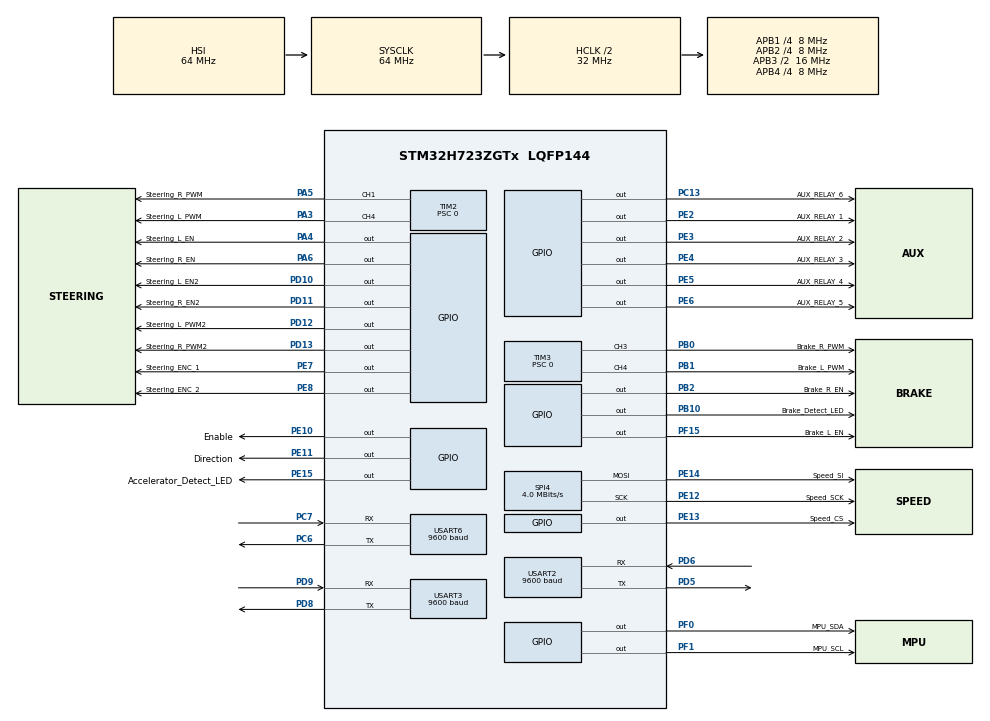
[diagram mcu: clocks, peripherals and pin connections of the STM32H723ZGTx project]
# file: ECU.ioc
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Dma.Request0=USART3_RX
Dma.Request1=USART2_RX
Dma.Request2=USART6_RX
Dma.USART2_RX.1.Direction=DMA_PERIPH_TO_MEMORY
Dma.USART2_RX.1.EventEnable=DISABLE
Dma.USART2_RX.1.FIFOMode=DMA_FIFOMODE_DISABLE
Dma.USART2_RX.1.Instance=DMA1_Stream1
Dma.USART2_RX.1.MemDataAlignment=DMA_MDATAALIGN_BYTE
Dma.USART2_RX.1.MemInc=DMA_MINC_ENABLE
Dma.USART2_RX.1.Mode=DMA_CIRCULAR
Dma.USART2_RX.1.PeriphDataAlignment=DMA_PDATAALIGN_BYTE
Dma.USART2_RX.1.PeriphInc=DMA_PINC_DISABLE
Dma.USART2_RX.1.Polarity=HAL_DMAMUX_REQ_GEN_RISING
Dma.USART2_RX.1.Priority=DMA_PRIORITY_LOW
Dma.USART2_RX.1.RequestNumber=1
Dma.USART2_RX.1.SignalID=NONE
Dma.USART2_RX.1.SyncEnable=DISABLE
Dma.USART2_RX.1.SyncPolarity=HAL_DMAMUX_SYNC_NO_EVENT
Dma.USART2_RX.1.SyncRequestNumber=1
Dma.USART2_RX.1.SyncSignalID=NONE
Dma.USART3_RX.0.Direction=DMA_PERIPH_TO_MEMORY
Dma.USART3_RX.0.EventEnable=DISABLE
Dma.USART3_RX.0.FIFOMode=DMA_FIFOMODE_DISABLE
Dma.USART3_RX.0.Instance=DMA1_Stream0
Dma.USART3_RX.0.MemDataAlignment=DMA_MDATAALIGN_BYTE
Dma.USART3_RX.0.MemInc=DMA_MINC_ENABLE
Dma.USART3_RX.0.Mode=DMA_CIRCULAR
Dma.USART3_RX.0.PeriphDataAlignment=DMA_PDATAALIGN_BYTE
Dma.USART3_RX.0.PeriphInc=DMA_PINC_DISABLE
Dma.USART3_RX.0.Polarity=HAL_DMAMUX_REQ_GEN_RISING
Dma.USART3_RX.0.Priority=DMA_PRIORITY_LOW
Dma.USART3_RX.0.RequestNumber=1
Dma.USART3_RX.0.SignalID=NONE
Dma.USART3_RX.0.SyncEnable=DISABLE
Dma.USART3_RX.0.SyncPolarity=HAL_DMAMUX_SYNC_NO_EVENT
Dma.USART3_RX.0.SyncRequestNumber=1
Dma.USART3_RX.0.SyncSignalID=NONE
Dma.USART6_RX.2.Direction=DMA_PERIPH_TO_MEMORY
Dma.USART6_RX.2.EventEnable=DISABLE
Dma.USART6_RX.2.FIFOMode=DMA_FIFOMODE_DISABLE
Dma.USART6_RX.2.Instance=DMA1_Stream2
Dma.USART6_RX.2.MemDataAlignment=DMA_MDATAALIGN_BYTE
Dma.USART6_RX.2.MemInc=DMA_MINC_ENABLE
Dma.USART6_RX.2.Mode=DMA_CIRCULAR
Dma.USART6_RX.2.PeriphDataAlignment=DMA_PDATAALIGN_BYTE
Dma.USART6_RX.2.PeriphInc=DMA_PINC_DISABLE
Dma.USART6_RX.2.Polarity=HAL_DMAMUX_REQ_GEN_RISING
Dma.USART6_RX.2.Priority=DMA_PRIORITY_LOW
Dma.USART6_RX.2.RequestNumber=1
Dma.USART6_RX.2.SignalID=NONE
Dma.USART6_RX.2.SyncEnable=DISABLE
Dma.USART6_RX.2.SyncPolarity=HAL_DMAMUX_SYNC_NO_EVENT
Dma.USART6_RX.2.SyncRequestNumber=1
Dma.USART6_RX.2.SyncSignalID=NONE
Mcu.Family=STM32H7
Mcu.Name=STM32H723ZGTx
Mcu.Package=LQFP144
NVIC.DMA1_Stream0_IRQn=true\:0\:0\:false\:false\:true\:false\:true\:true
NVIC.DMA1_Stream1_IRQn=true\:0\:0\:false\:false\:true\:false\:true\:true
NVIC.DMA1_Stream2_IRQn=true\:0\:0\:false\:false\:true\:false\:true\:true
NVIC.PriorityGroup=NVIC_PRIORITYGROUP_4
NVIC.TIM1_UP_IRQn=true\:15\:0\:false\:false\:true\:false\:true\:true
NVIC.TimeBase=TIM1_UP_IRQn
NVIC.TimeBaseIP=TIM1
NVIC.USART2_IRQn=true\:0\:0\:false\:false\:true\:true\:true\:true
NVIC.USART3_IRQn=true\:0\:0\:false\:false\:true\:true\:true\:true
NVIC.USART6_IRQn=true\:0\:0\:false\:false\:true\:true\:true\:true
PA13(JTMS/SWDIO).Mode=JTAG_5_pins
PA13(JTMS/SWDIO).Signal=DEBUG_JTMS-SWDIO
PA14(JTCK/SWCLK).Mode=JTAG_5_pins
PA14(JTCK/SWCLK).Signal=DEBUG_JTCK-SWCLK
PA15(JTDI).Mode=JTAG_5_pins
PA15(JTDI).Signal=DEBUG_JTDI
PA3.GPIO_Label=Steering_L_PWM
PA3.Signal=S_TIM2_CH4
PA4.GPIO_Label=Steering_L_EN
PA4.Signal=GPIO_Output
PA5.GPIO_Label=Steering_R_PWM
PA5.Signal=S_TIM2_CH1_ETR
PA6.GPIO_Label=Steering_R_EN
PA6.Signal=GPIO_Output
PB0.GPIO_Label=Brake_R_PWM
PB0.Signal=S_TIM3_CH3
PB1.GPIO_Label=Brake_L_PWM
PB1.Signal=S_TIM3_CH4
PB10.GPIO_Label=Brake_Detect_LED
PB10.Signal=GPIO_Output
PB2.GPIO_Label=Brake_R_EN
PB2.Signal=GPIO_Output
PB3(JTDO/TRACESWO).Mode=JTAG_5_pins
PB3(JTDO/TRACESWO).Signal=DEBUG_JTDO-SWO
PB4(NJTRST).Mode=JTAG_5_pins
PB4(NJTRST).Signal=DEBUG_JTRST
PC13.GPIO_Label=AUX_RELAY_6
PC13.Signal=GPIO_Output
PC6.Mode=Asynchronous
PC6.Signal=USART6_TX
PC7.Mode=Asynchronous
PC7.Signal=USART6_RX
PD10.GPIO_Label=Steering_L_EN2
PD10.Signal=GPIO_Output
PD11.GPIO_Label=Steering_R_EN2
PD11.Signal=GPIO_Output
PD12.GPIO_Label=Steering_L_PWM2
PD12.Signal=GPIO_Output
PD13.GPIO_Label=Steering_R_PWM2
PD13.Signal=GPIO_Output
PD5.Mode=Asynchronous
PD5.Signal=USART2_TX
PD6.Mode=Asynchronous
PD6.Signal=USART2_RX
PD8.Mode=Asynchronous
PD8.Signal=USART3_TX
PD9.Mode=Asynchronous
PD9.Signal=USART3_RX
PE10.GPIO_Label=Enable
PE10.Signal=GPIO_Output
PE11.GPIO_Label=Direction
PE11.Signal=GPIO_Output
PE12.GPIO_Label=Speed_SCK
PE12.Mode=TX_Only_Simplex_Unidirect_Master
PE12.Signal=SPI4_SCK
PE13.GPIO_Label=Speed_CS
PE13.Signal=GPIO_Output
PE14.GPIO_Label=Speed_SI
PE14.Mode=TX_Only_Simplex_Unidirect_Master
PE14.Signal=SPI4_MOSI
PE15.GPIO_Label=Accelerator_Detect_LED
PE15.Signal=GPIO_Output
PE2.GPIO_Label=AUX_RELAY_1
PE2.Signal=GPIO_Output
PE3.GPIO_Label=AUX_RELAY_2
PE3.Signal=GPIO_Output
PE4.GPIO_Label=AUX_RELAY_3
PE4.Signal=GPIO_Output
PE5.GPIO_Label=AUX_RELAY_4
PE5.Signal=GPIO_Output
PE6.GPIO_Label=AUX_RELAY_5
PE6.Signal=GPIO_Output
PE7.GPIO_Label=Steering_ENC_1
PE7.Signal=GPIO_Output
PE8.GPIO_Label=Steering_ENC_2
PE8.Signal=GPIO_Output
PF0.GPIO_Label=MPU_SDA
PF0.Signal=GPIO_Output
PF1.GPIO_Label=MPU_SCL
PF1.Signal=GPIO_Output
PF15.GPIO_Label=Brake_L_EN
PF15.Signal=GPIO_Output
ProjectManager.HeapSize=0x200
ProjectManager.StackSize=0x400
ProjectManager.TargetToolchain=STM32CubeIDE
RCC.ADCFreq_Value=38400000
RCC.APB1Freq_Value=8000000
RCC.APB2Freq_Value=8000000
RCC.APB3Freq_Value=16000000
RCC.APB4Freq_Value=8000000
RCC.CortexFreq_Value=64000000
RCC.D1PPRE=RCC_APB3_DIV2
RCC.D2PPRE1=RCC_APB1_DIV4
RCC.D2PPRE2=RCC_APB2_DIV4
RCC.D3PPRE=RCC_APB4_DIV4
RCC.DIVM1=4
RCC.DIVM2=4
RCC.DIVN1=34
RCC.DIVN2=12
RCC.DIVN3=128
RCC.DIVP1=1
RCC.DIVP2=5
RCC.DIVQ1=4
RCC.DIVQ2=6
RCC.HCLKFreq_Value=32000000
RCC.HPRE=RCC_HCLK_DIV2
RCC.PLL2_VCI_Range-AdvancedSettings=RCC_PLL2VCIRANGE_3
RCC.SYSCLKFreq_VALUE=64000000
RCC.USART16CLockSelection=RCC_USART16910CLKSOURCE_PLL2
RCC.USART234578CLockSelection=RCC_USART234578CLKSOURCE_PLL2
RCC.USBFreq_Value=136000000
SH.S_TIM2_CH1_ETR.0=TIM2_CH1,PWM Generation1 CH1
SH.S_TIM2_CH4.0=TIM2_CH4,PWM Generation4 CH4
SH.S_TIM3_CH3.0=TIM3_CH3,PWM Generation3 CH3
SH.S_TIM3_CH4.0=TIM3_CH4,PWM Generation4 CH4
SPI4.BaudRatePrescaler=SPI_BAUDRATEPRESCALER_2
SPI4.CalculateBaudRate=4.0 MBits/s
SPI4.Direction=SPI_DIRECTION_2LINES_TXONLY
SPI4.Mode=SPI_MODE_MASTER
SPI4.VirtualType=VM_MASTER
TIM2.AutoReloadPreload=TIM_AUTORELOAD_PRELOAD_ENABLE
TIM2.Channel-PWM\ Generation1\ CH1=TIM_CHANNEL_1
TIM2.Channel-PWM\ Generation4\ CH4=TIM_CHANNEL_4
TIM2.Period=65535
TIM2.Prescaler=0
TIM2.Pulse-PWM\ Generation1\ CH1=0
TIM2.Pulse-PWM\ Generation4\ CH4=500
TIM3.AutoReloadPreload=TIM_AUTORELOAD_PRELOAD_ENABLE
TIM3.Channel-PWM\ Generation3\ CH3=TIM_CHANNEL_3
TIM3.Channel-PWM\ Generation4\ CH4=TIM_CHANNEL_4
TIM3.Period=65535
TIM3.Prescaler=0
USART2.BaudRate=9600
USART2.VirtualMode-Asynchronous=VM_ASYNC
USART3.BaudRate=9600
USART3.VirtualMode-Asynchronous=VM_ASYNC
USART6.BaudRate=9600
USART6.VirtualMode-Asynchronous=VM_ASYNC
VP_SYS_VS_tim1.Mode=TIM1
VP_TIM2_VS_ClockSourceINT.Mode=Internal
VP_TIM3_VS_ClockSourceINT.Mode=Internal
board=custom

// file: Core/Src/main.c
/* USER CODE BEGIN Header */
/**
  ******************************************************************************
  * @file           : main.c
  * @brief          : Main program body
  ******************************************************************************
  * @attention
  *
  * Copyright (c) 2023 STMicroelectronics.
  * All rights reserved.
  *
  * This software is licensed under terms that can be found in the LICENSE file
  * in the root directory of this software component.
  * If no LICENSE file comes with this software, it is provided AS-IS.
  *
  ******************************************************************************
  */
/* USER CODE END Header */
#include "main.h"
#include "dma.h"
#include "spi.h"
#include "tim.h"
#include "usart.h"
#include "gpio.h"

/* USER CODE BEGIN PV */

// UART Receive Buffer
#define UART_RX_BUFFER_SIZE 2
uint8_t uart_rx_buffer[UART_RX_BUFFER_SIZE];

/* USER CODE END PV */

void SystemClock_Config(void);
void PeriphCommonClock_Config(void);

/* USER CODE BEGIN 0 */

static void setDutyCycle(TIM_HandleTypeDef* const htim, uint32_t channel, float duty_cycle) {
	if (duty_cycle > 100) duty_cycle = 100;
	if (duty_cycle < 0) duty_cycle = 0;

	float pw_resolution = (((float)(*htim).Init.Period + 1.0f) / 100.0f);

	uint16_t pw_desired = pw_resolution * duty_cycle;
	__HAL_TIM_SET_COMPARE(htim, channel, pw_desired);
}

// Increment speed controller (MCP4151 using SPI4)
void increment_speed() {
  // Set the CS pin low
  HAL_GPIO_WritePin(Speed_CS_GPIO_Port, Speed_CS_Pin, GPIO_PIN_RESET);
  // Send the increment command
  HAL_SPI_Transmit(&hspi4, 0x01, 1, 100);
  // Set the CS pin high
  HAL_GPIO_WritePin(Speed_CS_GPIO_Port, Speed_CS_Pin, GPIO_PIN_SET);
}

// Decrement speed controller (MCP4151 using SPI4)
void decrement_speed() {
  // Set the CS pin low
  HAL_GPIO_WritePin(Speed_CS_GPIO_Port, Speed_CS_Pin, GPIO_PIN_RESET);
  // Send the decrement command
  HAL_SPI_Transmit(&hspi4, 0x02, 1, 100);
  // Set the CS pin high
  HAL_GPIO_WritePin(Speed_CS_GPIO_Port, Speed_CS_Pin, GPIO_PIN_SET);
}

// Set the speed controller (MCP4151 using SPI4)
void set_speed(uint8_t speed) {
  // Set the CS pin low
  HAL_GPIO_WritePin(Speed_CS_GPIO_Port, Speed_CS_Pin, GPIO_PIN_RESET);
  // Send the set command
  HAL_SPI_Transmit(&hspi4, 0x00, 1, 100);
  // Send the speed value
  HAL_SPI_Transmit(&hspi4, speed, 1, 100);
  // Set the CS pin high
  HAL_GPIO_WritePin(Speed_CS_GPIO_Port, Speed_CS_Pin, GPIO_PIN_SET);
}

// Enable the drive relay
void enable_drive() {
  HAL_GPIO_WritePin(Enable_GPIO_Port, Enable_Pin, GPIO_PIN_SET);
}

// Disable the drive relay
void disable_drive() {
  HAL_GPIO_WritePin(Enable_GPIO_Port, Enable_Pin, GPIO_PIN_RESET);
}

// Enable the forward relay
void enable_forward() {
  HAL_GPIO_WritePin(Direction_GPIO_Port, Direction_Pin, GPIO_PIN_SET);
}

// Enable the reverse relay
void enable_reverse() {
  HAL_GPIO_WritePin(Direction_GPIO_Port, Direction_Pin, GPIO_PIN_RESET);
}

/*
  Motor 0:
  Steering Left
  Enable: Steering_L_EN
  Timer 2 Channel 4
  PWM: Steering_L_PWM
  Motor 1:
  Steering Right
  Enable: Steering_R_EN
  Timer 2 Channel 1
  PWM: Steering_R_PWM
  Motor 2:
  Brake Left
  Enable: Brake_L_EN
  Timer 3 Channel 4
  PWM: Brake_L_PWM
  Motor 3:
  Brake Right
  Enable: Brake_R_EN
  Timer 3 Channel 3
  PWM: Brake_R_PWM
*/

// Run Steering Motor Forward
void steer_forward() {
  // Disable the other motor
  HAL_GPIO_WritePin(Steering_R_EN_GPIO_Port, Steering_R_EN_Pin, GPIO_PIN_RESET);

  // Write the PWM value
  setDutyCycle(&htim2, TIM_CHANNEL_1, 0);
  setDutyCycle(&htim2, TIM_CHANNEL_4, 100);

  // Enable the motor
  HAL_GPIO_WritePin(Steering_L_EN_GPIO_Port, Steering_L_EN_Pin, GPIO_PIN_SET);

}

// Run Steering Motor Backward
void steer_backward() {
  // Disable the other motor
  HAL_GPIO_WritePin(Steering_L_EN_GPIO_Port, Steering_L_EN_Pin, GPIO_PIN_RESET);

  // Write the PWM value
  setDutyCycle(&htim2, TIM_CHANNEL_4, 0);
  setDutyCycle(&htim2, TIM_CHANNEL_1, 100);

  // Enable the motor
  HAL_GPIO_WritePin(Steering_R_EN_GPIO_Port, Steering_R_EN_Pin, GPIO_PIN_SET);
}

// Stop the Steering Motor
void steer_stop() {
  // Disable the motor
  HAL_GPIO_WritePin(Steering_L_EN_GPIO_Port, Steering_L_EN_Pin, GPIO_PIN_RESET);
  HAL_GPIO_WritePin(Steering_R_EN_GPIO_Port, Steering_R_EN_Pin, GPIO_PIN_RESET);
}

// Run Brake Motor Forward
void brake_forward() {
  // Disable the other motor
  HAL_GPIO_WritePin(Brake_R_EN_GPIO_Port, Brake_R_EN_Pin, GPIO_PIN_RESET);

  // Write the PWM value
  setDutyCycle(&htim3, TIM_CHANNEL_3, 0);
  setDutyCycle(&htim3, TIM_CHANNEL_4, 100);

  // Enable the motor
  HAL_GPIO_WritePin(Brake_L_EN_GPIO_Port, Brake_L_EN_Pin, GPIO_PIN_SET);
}

// Run Brake Motor Backward
void brake_backward() {
  // Disable the other motor
  HAL_GPIO_WritePin(Brake_L_EN_GPIO_Port, Brake_L_EN_Pin, GPIO_PIN_RESET);

  // Write the PWM value
  setDutyCycle(&htim3, TIM_CHANNEL_4, 0);
  setDutyCycle(&htim3, TIM_CHANNEL_3, 100);

  // Enable the motor
  HAL_GPIO_WritePin(Brake_R_EN_GPIO_Port, Brake_R_EN_Pin, GPIO_PIN_SET);
}

// Stop the Brake Motor
void brake_stop() {
  // Disable the motor
  HAL_GPIO_WritePin(Brake_L_EN_GPIO_Port, Brake_L_EN_Pin, GPIO_PIN_RESET);
  HAL_GPIO_WritePin(Brake_R_EN_GPIO_Port, Brake_R_EN_Pin, GPIO_PIN_RESET);
}

// Read the UART data from uart6
void read_uart_data() {
  // Read the UART data
  HAL_UART_Receive_DMA(&huart6, uart_rx_buffer, UART_RX_BUFFER_SIZE);
}

// Decoder function from the UART data buffer.
void decode_uart_data() {
  // Check the first byte of the buffer
  switch (uart_rx_buffer[0]) {
    case 0x01: // Drive
      // Check the second byte of the buffer
      switch (uart_rx_buffer[1]) {
        case 0x01: // Forward
          // Enable the drive relay
          enable_drive();
          // Enable the forward relay
          enable_forward();
          break;
        case 0x02: // Reverse
          // Enable the drive relay
          enable_drive();
          // Enable the reverse relay
          enable_reverse();
          break;
        case 0x03: // Stop
          // Disable the drive relay
          disable_drive();
          break;
      }
      break;
    case 0x02: // Steering
      // Check the second byte of the buffer
      switch (uart_rx_buffer[1]) {
        case 0x01: // Forward
          // Run the steering motor forward
          steer_forward();
          break;
        case 0x02: // Reverse
          // Run the steering motor backward
          steer_backward();
          break;
        case 0x03: // Stop
          // Stop the steering motor
          steer_stop();
          break;
      }
      break;
    case 0x03: // Brake
      // Check the second byte of the buffer
      switch (uart_rx_buffer[1]) {
        case 0x01: // Forward
          // Run the brake motor forward
          brake_forward();
          break;
        case 0x02: // Reverse
          // Run the brake motor backward
          brake_backward();
          break;
        case 0x03: // Stop
          // Stop the brake motor
          brake_stop();
          break;
      }
      break;
    case 0x04: // Speed with 2 preset speeds
      // Check the second byte of the buffer
      switch (uart_rx_buffer[1]) {
        case 0x01: // Low
          // Set the speed to low
          set_speed(64);
          break;
        case 0x02: // High
          // Set the speed to high
          set_speed(128);
          break;
        case 0x03: // Increment
          // Increment the speed
          increment_speed();
          break;
        case 0x04: // Decrement
          // Decrement the speed
          decrement_speed();
          break;
        case 0x05: // Stop
          // Stop the drive motor
          set_speed(0x00);
          disable_drive();
          break;
      }
      break;
  }
}

/* USER CODE END 0 */

int main(void)
{

  /* MCU Configuration--------------------------------------------------------*/

  /* Reset of all peripherals, Initializes the Flash interface and the Systick. */
  HAL_Init();

  /* Configure the system clock */
  SystemClock_Config();

/* Configure the peripherals common clocks */
  PeriphCommonClock_Config();

  /* Initialize all configured peripherals */
  MX_GPIO_Init();
  MX_DMA_Init();
  MX_USART2_UART_Init();
  MX_USART3_UART_Init();
  MX_USART6_UART_Init();
  MX_TIM2_Init();
  MX_TIM3_Init();
  MX_SPI4_Init();
  /* USER CODE BEGIN 2 */
  //HAL_TIM_PWM_Start(&htim2, TIM_CHANNEL_1);
  //HAL_TIM_PWM_Start(&htim2, TIM_CHANNEL_4);
  //HAL_TIM_PWM_Start(&htim3, TIM_CHANNEL_3);
  //HAL_TIM_PWM_Start(&htim3, TIM_CHANNEL_4);

  /* USER CODE END 2 */

  /* Infinite loop */
  while (1)
  {

    /* USER CODE BEGIN 3 */
	read_uart_data();
	decode_uart_data();

  }
  /* USER CODE END 3 */
}

void SystemClock_Config(void)
{
  RCC_OscInitTypeDef RCC_OscInitStruct = {0};
  RCC_ClkInitTypeDef RCC_ClkInitStruct = {0};

  /** Supply configuration update enable
  */
  HAL_PWREx_ConfigSupply(PWR_LDO_SUPPLY);

  /** Configure the main internal regulator output voltage
  */
  __HAL_PWR_VOLTAGESCALING_CONFIG(PWR_REGULATOR_VOLTAGE_SCALE3);

  while(!__HAL_PWR_GET_FLAG(PWR_FLAG_VOSRDY)) {}

  /** Macro to configure the PLL clock source
  */
  __HAL_RCC_PLL_PLLSOURCE_CONFIG(RCC_PLLSOURCE_HSI);

  /** Initializes the RCC Oscillators according to the specified parameters
  * in the RCC_OscInitTypeDef structure.
  */
  RCC_OscInitStruct.OscillatorType = RCC_OSCILLATORTYPE_HSI;
  RCC_OscInitStruct.HSIState = RCC_HSI_DIV1;
  RCC_OscInitStruct.HSICalibrationValue = 64;
  RCC_OscInitStruct.PLL.PLLState = RCC_PLL_NONE;
  if (HAL_RCC_OscConfig(&RCC_OscInitStruct) != HAL_OK)
  {
    Error_Handler();
  }

  /** Initializes the CPU, AHB and APB buses clocks
  */
  RCC_ClkInitStruct.ClockType = RCC_CLOCKTYPE_HCLK|RCC_CLOCKTYPE_SYSCLK
                              |RCC_CLOCKTYPE_PCLK1|RCC_CLOCKTYPE_PCLK2
                              |RCC_CLOCKTYPE_D3PCLK1|RCC_CLOCKTYPE_D1PCLK1;
  RCC_ClkInitStruct.SYSCLKSource = RCC_SYSCLKSOURCE_HSI;
  RCC_ClkInitStruct.SYSCLKDivider = RCC_SYSCLK_DIV1;
  RCC_ClkInitStruct.AHBCLKDivider = RCC_HCLK_DIV2;
  RCC_ClkInitStruct.APB3CLKDivider = RCC_APB3_DIV2;
  RCC_ClkInitStruct.APB1CLKDivider = RCC_APB1_DIV4;
  RCC_ClkInitStruct.APB2CLKDivider = RCC_APB2_DIV4;
  RCC_ClkInitStruct.APB4CLKDivider = RCC_APB4_DIV4;

  if (HAL_RCC_ClockConfig(&RCC_ClkInitStruct, FLASH_LATENCY_0) != HAL_OK)
  {
    Error_Handler();
  }
}

void PeriphCommonClock_Config(void)
{
  RCC_PeriphCLKInitTypeDef PeriphClkInitStruct = {0};

  /** Initializes the peripherals clock
  */
  PeriphClkInitStruct.PeriphClockSelection = RCC_PERIPHCLK_USART6|RCC_PERIPHCLK_USART2
                              |RCC_PERIPHCLK_USART3;
  PeriphClkInitStruct.PLL2.PLL2M = 4;
  PeriphClkInitStruct.PLL2.PLL2N = 12;
  PeriphClkInitStruct.PLL2.PLL2P = 5;
  PeriphClkInitStruct.PLL2.PLL2Q = 6;
  PeriphClkInitStruct.PLL2.PLL2R = 2;
  PeriphClkInitStruct.PLL2.PLL2RGE = RCC_PLL2VCIRANGE_3;
  PeriphClkInitStruct.PLL2.PLL2VCOSEL = RCC_PLL2VCOWIDE;
  PeriphClkInitStruct.PLL2.PLL2FRACN = 0;
  PeriphClkInitStruct.Usart234578ClockSelection = RCC_USART234578CLKSOURCE_PLL2;
  PeriphClkInitStruct.Usart16ClockSelection = RCC_USART16910CLKSOURCE_PLL2;
  if (HAL_RCCEx_PeriphCLKConfig(&PeriphClkInitStruct) != HAL_OK)
  {
    Error_Handler();
  }
}

void HAL_TIM_PeriodElapsedCallback(TIM_HandleTypeDef *htim)
{
  if (htim->Instance == TIM1) {
    HAL_IncTick();
  }
}

void Error_Handler(void)
{
  __disable_irq();
  while (1)
  {
  }
}
